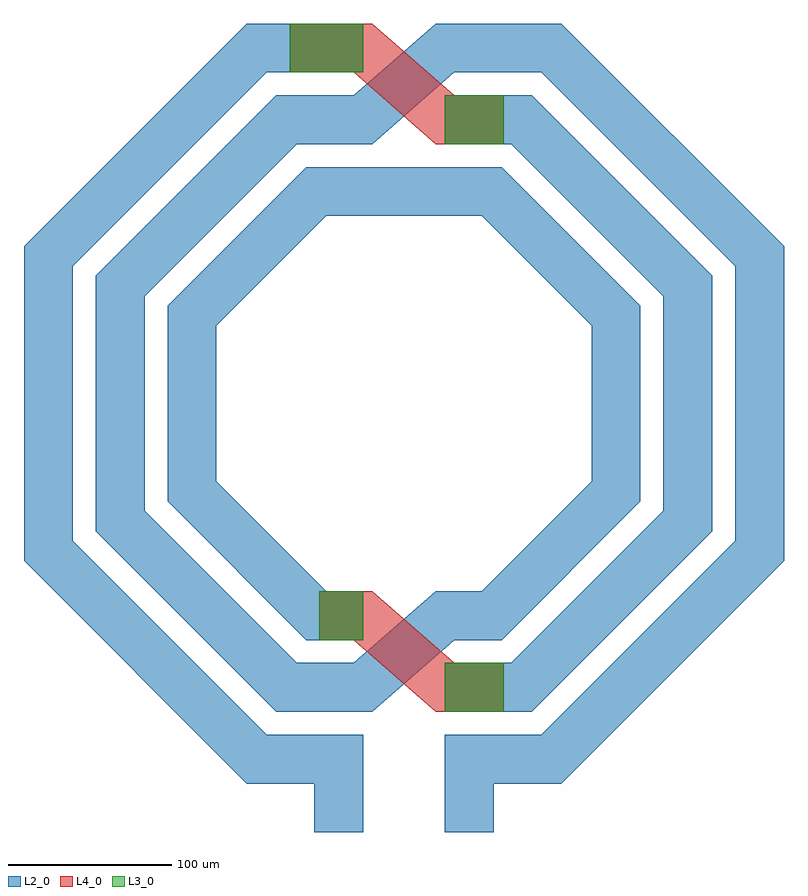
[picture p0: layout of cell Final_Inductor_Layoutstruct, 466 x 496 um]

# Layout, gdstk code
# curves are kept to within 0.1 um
import gdstk
lib = gdstk.Library(unit=1e-6, precision=1e-09)
def R(c, l, rs):  # rectangles x0, y0, x1, y1
    for r in rs: c.add(gdstk.rectangle(r[:2], r[2:], *l))
def P(c, l, *ps):  # polygons
    for p in ps: c.add(gdstk.Polygon(p, *l))
L2_0 = (2, 0)
L3_0 = (3, 0)
L4_0 = (4, 0)

final_inductor_layoutstr = lib.new_cell('Final_Inductor_Layoutstruct')
R(final_inductor_layoutstr, L2_0, [(-53.581,-268.073,-23.581,-208.073), (26.419,-268.073,56.419,-208.073), (-23.581,109.927,26.419,139.927)])
P(final_inductor_layoutstr, L2_0, [(234.419,91.438),(97.93,227.927),(26.419,227.927),(26.419,197.927),(85.504,197.927),(204.419,79.012),(204.419,-89.159),(85.504,-208.073),(26.419,-208.073),(26.419,-238.073),(97.93,-238.073),(234.419,-101.585)],
  [(-23.581,183.927),(-76.868,183.927),(-187.581,73.213),(-187.581,-83.36),(-76.868,-194.073),(-23.581,-194.073),(-23.581,-164.073),(-64.441,-164.073),(-157.581,-70.933),(-157.581,60.787),(-64.441,153.927),(-23.581,153.927)],
  [(-23.581,227.927),(-95.093,227.927),(-231.581,91.438),(-231.581,-101.585),(-95.093,-238.073),(-23.581,-238.073),(-23.581,-208.073),(-82.667,-208.073),(-201.581,-89.159),(-201.581,79.012),(-82.667,197.927),(-23.581,197.927)],
  [(59.068,227.927),(20.758,227.927),(-29.242,183.927),(-59.618,183.927),(-59.618,153.927),(-17.921,153.927),(32.079,197.927),(59.068,197.927)],
  [(190.419,73.213),(79.705,183.927),(26.419,183.927),(26.419,153.927),(67.279,153.927),(160.419,60.787),(160.419,-70.933),(67.279,-164.073),(26.419,-164.073),(26.419,-194.073),(79.705,-194.073),(190.419,-83.36)],
  [(53.343,-120.073),(20.758,-120.073),(-29.242,-164.073),(-59.618,-164.073),(-59.618,-194.073),(-17.921,-194.073),(32.079,-150.073),(53.343,-150.073)],
  [(-23.581,139.927),(-58.642,139.927),(-143.581,54.988),(-143.581,-65.134),(-58.642,-150.073),(-23.581,-150.073),(-23.581,-120.073),(-46.216,-120.073),(-113.581,-52.708),(-113.581,42.561),(-46.216,109.927),(-23.581,109.927)],
  [(146.419,54.988),(61.48,139.927),(26.419,139.927),(26.419,109.927),(49.053,109.927),(116.419,42.561),(116.419,-52.708),(49.053,-120.073),(26.419,-120.073),(26.419,-150.073),(61.48,-150.073),(146.419,-65.134)])
R(final_inductor_layoutstr, L3_0, [(26.419,-194.073,62.455,-164.073), (-50.505,-150.073,-23.581,-120.073), (26.419,153.927,62.455,183.927), (-68.731,197.927,-23.581,227.927)])
P(final_inductor_layoutstr, L4_0, [(62.455,-164.073),(32.079,-164.073),(-17.921,-120.073),(-50.505,-120.073),(-50.505,-150.073),(-29.242,-150.073),(20.758,-194.073),(62.455,-194.073)],
  [(62.455,183.927),(32.079,183.927),(-17.921,227.927),(-68.731,227.927),(-68.731,197.927),(-29.242,197.927),(20.758,153.927),(62.455,153.927)])

lib.write_gds('Final_Inductor_Layoutstruct.gds')
